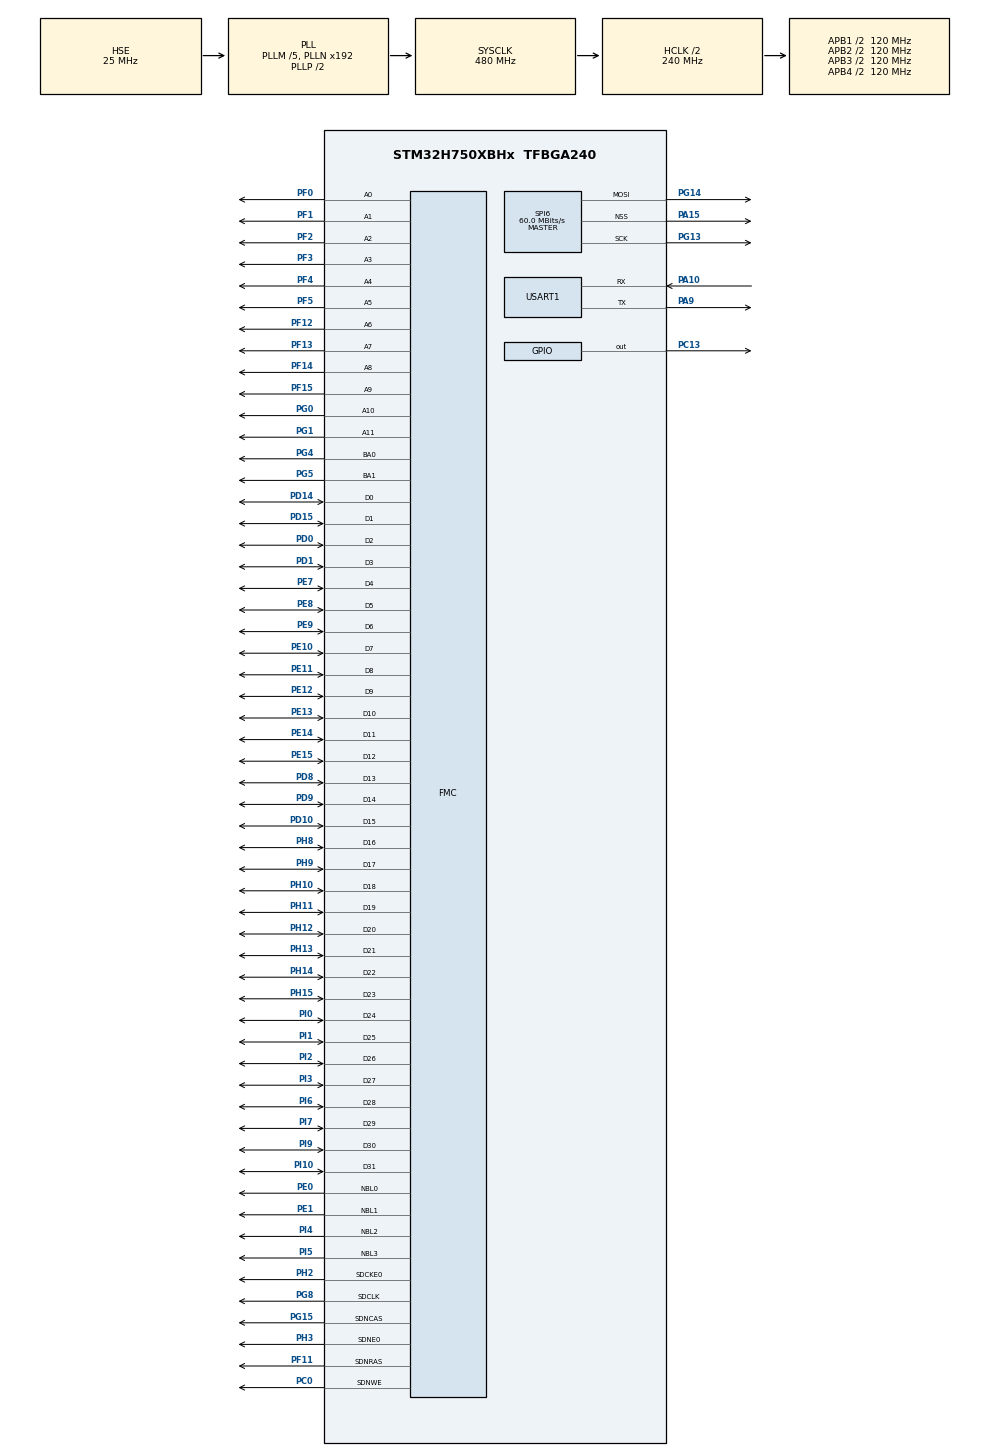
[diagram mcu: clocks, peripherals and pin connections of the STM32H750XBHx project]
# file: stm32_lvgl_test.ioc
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DMA2D.ColorMode=DMA2D_OUTPUT_RGB565
FMC.CASLatency1=FMC_SDRAM_CAS_LATENCY_3
FMC.ExitSelfRefreshDelay1=7
FMC.LoadToActiveDelay1=2
FMC.RCDDelay1=2
FMC.RPDelay1=2
FMC.RPDelay2=2
FMC.RowCycleDelay1=7
FMC.RowCycleDelay2=7
FMC.SDClockPeriod1=FMC_SDRAM_CLOCK_PERIOD_2
FMC.SDClockPeriod2=FMC_SDRAM_CLOCK_PERIOD_2
FMC.SelfRefreshTime1=4
FMC.WriteRecoveryTime1=3
FREERTOS.Tasks01=defaultTask,24,1024,StartDefaultTask,Default,NULL,Dynamic,NULL,NULL;base_lvgl_task,32,2048,lvgl_task,Default,NULL,Dynamic,NULL,NULL;lvgl_gui,25,2048,lvgl_gui1,Default,NULL,Dynamic,NULL,NULL
FREERTOS.configTOTAL_HEAP_SIZE=30720
FREERTOS.configUSE_TICK_HOOK=1
Mcu.Family=STM32H7
Mcu.Name=STM32H750XBHx
Mcu.Package=TFBGA240
NVIC.DMA2D_IRQn=true\:5\:0\:false\:false\:true\:true\:true\:true\:true
NVIC.PriorityGroup=NVIC_PRIORITYGROUP_4
NVIC.TIM1_UP_IRQn=true\:15\:0\:false\:false\:true\:false\:false\:true\:true
NVIC.TimeBase=TIM1_UP_IRQn
NVIC.TimeBaseIP=TIM1
PA10.GPIO_Speed=GPIO_SPEED_FREQ_VERY_HIGH
PA10.Mode=Asynchronous
PA10.Signal=USART1_RX
PA15\ (JTDI).GPIO_Speed=GPIO_SPEED_FREQ_VERY_HIGH
PA15\ (JTDI).Mode=NSS_Signal_Hard_Output
PA15\ (JTDI).Signal=SPI6_NSS
PA9.GPIO_Speed=GPIO_SPEED_FREQ_VERY_HIGH
PA9.Mode=Asynchronous
PA9.Signal=USART1_TX
PC0.Signal=FMC_SDNWE
PC13.Signal=GPIO_Output
PD0.Signal=FMC_D2_DA2
PD1.Signal=FMC_D3_DA3
PD10.Signal=FMC_D15_DA15
PD14.Signal=FMC_D0_DA0
PD15.Signal=FMC_D1_DA1
PD8.Signal=FMC_D13_DA13
PD9.Signal=FMC_D14_DA14
PE0.Signal=FMC_NBL0
PE1.Signal=FMC_NBL1
PE10.Signal=FMC_D7_DA7
PE11.Signal=FMC_D8_DA8
PE12.Signal=FMC_D9_DA9
PE13.Signal=FMC_D10_DA10
PE14.Signal=FMC_D11_DA11
PE15.Signal=FMC_D12_DA12
PE7.Signal=FMC_D4_DA4
PE8.Signal=FMC_D5_DA5
PE9.Signal=FMC_D6_DA6
PF0.Signal=FMC_A0
PF1.Signal=FMC_A1
PF11.Signal=FMC_SDNRAS
PF12.Signal=FMC_A6
PF13.Signal=FMC_A7
PF14.Signal=FMC_A8
PF15.Signal=FMC_A9
PF2.Signal=FMC_A2
PF3.Signal=FMC_A3
PF4.Signal=FMC_A4
PF5.Signal=FMC_A5
PG0.Signal=FMC_A10
PG1.Signal=FMC_A11
PG13.GPIO_Speed=GPIO_SPEED_FREQ_VERY_HIGH
PG13.Mode=TX_Only_Simplex_Unidirect_Master
PG13.Signal=SPI6_SCK
PG14.GPIO_Speed=GPIO_SPEED_FREQ_VERY_HIGH
PG14.Mode=TX_Only_Simplex_Unidirect_Master
PG14.Signal=SPI6_MOSI
PG15.Signal=FMC_SDNCAS
PG4.Signal=FMC_A14_BA0
PG5.Signal=FMC_A15_BA1
PG8.Signal=FMC_SDCLK
PH0-OSC_IN\ (PH0).Mode=HSE-External-Oscillator
PH0-OSC_IN\ (PH0).Signal=RCC_OSC_IN
PH1-OSC_OUT\ (PH1).Mode=HSE-External-Oscillator
PH1-OSC_OUT\ (PH1).Signal=RCC_OSC_OUT
PH10.Signal=FMC_D18
PH11.Signal=FMC_D19
PH12.Signal=FMC_D20
PH13.Signal=FMC_D21
PH14.Signal=FMC_D22
PH15.Signal=FMC_D23
PH2.Mode=SdramChipSelect1_1
PH2.Signal=FMC_SDCKE0
PH3.Mode=SdramChipSelect1_1
PH3.Signal=FMC_SDNE0
PH8.Signal=FMC_D16
PH9.Signal=FMC_D17
PI0.Signal=FMC_D24
PI1.Signal=FMC_D25
PI10.Signal=FMC_D31
PI2.Signal=FMC_D26
PI3.Signal=FMC_D27
PI4.Signal=FMC_NBL2
PI5.Signal=FMC_NBL3
PI6.Signal=FMC_D28
PI7.Signal=FMC_D29
PI9.Signal=FMC_D30
ProjectManager.HeapSize=0x200
ProjectManager.StackSize=0x400
ProjectManager.TargetToolchain=MDK-ARM V5.32
RCC.ADCFreq_Value=50390625
RCC.APB1Freq_Value=120000000
RCC.APB2Freq_Value=120000000
RCC.APB3Freq_Value=120000000
RCC.APB4Freq_Value=120000000
RCC.CortexFreq_Value=480000000
RCC.D1PPRE=RCC_APB3_DIV2
RCC.D2PPRE1=RCC_APB1_DIV2
RCC.D2PPRE2=RCC_APB2_DIV2
RCC.D3PPRE=RCC_APB4_DIV2
RCC.DIVM1=5
RCC.DIVN1=192
RCC.HCLKFreq_Value=240000000
RCC.HPRE=RCC_HCLK_DIV2
RCC.PLLSourceVirtual=RCC_PLLSOURCE_HSE
RCC.SYSCLKFreq_VALUE=480000000
RCC.SYSCLKSource=RCC_SYSCLKSOURCE_PLLCLK
RCC.USBFreq_Value=480000000
SH.FMC_A0.0=FMC_A0,12b-sda1
SH.FMC_A1.0=FMC_A1,12b-sda1
SH.FMC_A10.0=FMC_A10,12b-sda1
SH.FMC_A11.0=FMC_A11,12b-sda1
SH.FMC_A14_BA0.0=FMC_BA0,FourSdramBanks1
SH.FMC_A15_BA1.0=FMC_BA1,FourSdramBanks1
SH.FMC_A2.0=FMC_A2,12b-sda1
SH.FMC_A3.0=FMC_A3,12b-sda1
SH.FMC_A4.0=FMC_A4,12b-sda1
SH.FMC_A5.0=FMC_A5,12b-sda1
SH.FMC_A6.0=FMC_A6,12b-sda1
SH.FMC_A7.0=FMC_A7,12b-sda1
SH.FMC_A8.0=FMC_A8,12b-sda1
SH.FMC_A9.0=FMC_A9,12b-sda1
SH.FMC_D0_DA0.0=FMC_D0,sd-32b-d1
SH.FMC_D10_DA10.0=FMC_D10,sd-32b-d1
SH.FMC_D11_DA11.0=FMC_D11,sd-32b-d1
SH.FMC_D12_DA12.0=FMC_D12,sd-32b-d1
SH.FMC_D13_DA13.0=FMC_D13,sd-32b-d1
SH.FMC_D14_DA14.0=FMC_D14,sd-32b-d1
SH.FMC_D15_DA15.0=FMC_D15,sd-32b-d1
SH.FMC_D16.0=FMC_D16,sd-32b-d1
SH.FMC_D17.0=FMC_D17,sd-32b-d1
SH.FMC_D18.0=FMC_D18,sd-32b-d1
SH.FMC_D19.0=FMC_D19,sd-32b-d1
SH.FMC_D1_DA1.0=FMC_D1,sd-32b-d1
SH.FMC_D20.0=FMC_D20,sd-32b-d1
SH.FMC_D21.0=FMC_D21,sd-32b-d1
SH.FMC_D22.0=FMC_D22,sd-32b-d1
SH.FMC_D23.0=FMC_D23,sd-32b-d1
SH.FMC_D24.0=FMC_D24,sd-32b-d1
SH.FMC_D25.0=FMC_D25,sd-32b-d1
SH.FMC_D26.0=FMC_D26,sd-32b-d1
SH.FMC_D27.0=FMC_D27,sd-32b-d1
SH.FMC_D28.0=FMC_D28,sd-32b-d1
SH.FMC_D29.0=FMC_D29,sd-32b-d1
SH.FMC_D2_DA2.0=FMC_D2,sd-32b-d1
SH.FMC_D30.0=FMC_D30,sd-32b-d1
SH.FMC_D31.0=FMC_D31,sd-32b-d1
SH.FMC_D3_DA3.0=FMC_D3,sd-32b-d1
SH.FMC_D4_DA4.0=FMC_D4,sd-32b-d1
SH.FMC_D5_DA5.0=FMC_D5,sd-32b-d1
SH.FMC_D6_DA6.0=FMC_D6,sd-32b-d1
SH.FMC_D7_DA7.0=FMC_D7,sd-32b-d1
SH.FMC_D8_DA8.0=FMC_D8,sd-32b-d1
SH.FMC_D9_DA9.0=FMC_D9,sd-32b-d1
SH.FMC_NBL0.0=FMC_NBL0,Sd4ByteEnable1
SH.FMC_NBL1.0=FMC_NBL1,Sd4ByteEnable1
SH.FMC_NBL2.0=FMC_NBL2,Sd4ByteEnable1
SH.FMC_NBL3.0=FMC_NBL3,Sd4ByteEnable1
SH.FMC_SDCLK.0=FMC_SDCLK,12b-sda1
SH.FMC_SDNCAS.0=FMC_SDNCAS,12b-sda1
SH.FMC_SDNRAS.0=FMC_SDNRAS,12b-sda1
SH.FMC_SDNWE.0=FMC_SDNWE,12b-sda1
SPI6.CalculateBaudRate=60.0 MBits/s
SPI6.DataSize=SPI_DATASIZE_8BIT
SPI6.Direction=SPI_DIRECTION_2LINES_TXONLY
SPI6.FifoThreshold=SPI_FIFO_THRESHOLD_02DATA
SPI6.Mode=SPI_MODE_MASTER
SPI6.VirtualNSS=VM_NSSHARD
SPI6.VirtualType=VM_MASTER
USART1.VirtualMode-Asynchronous=VM_ASYNC
VP_DMA2D_VS_DMA2D.Mode=DMA2D_Activate
VP_FREERTOS_VS_CMSIS_V2.Mode=CMSIS_V2
VP_MEMORYMAP_VS_MEMORYMAP.Mode=CurAppReg
VP_SYS_VS_tim1.Mode=TIM1
board=custom

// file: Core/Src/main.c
/* USER CODE BEGIN Header */
/**
 ******************************************************************************
 * @file           : main.c
 * @brief          : Main program body
 ******************************************************************************
 * @attention
 *
 * Copyright (c) 2024 STMicroelectronics.
 * All rights reserved.
 *
 * This software is licensed under terms that can be found in the LICENSE file
 * in the root directory of this software component.
 * If no LICENSE file comes with this software, it is provided AS-IS.
 *
 ******************************************************************************
 */
/* USER CODE END Header */
#include "main.h"
#include "cmsis_os.h"
#include "dma2d.h"
#include "memorymap.h"
#include "spi.h"
#include "usart.h"
#include "gpio.h"
#include "fmc.h"

/* USER CODE BEGIN Includes */
#include "lcd_spi_200.h"
#include "lvgl.h"
#include "lv_port_disp.h"
#include "lv_port_indev.h"
#include "sdram.h"

/* USER CODE END Includes */

void SystemClock_Config(void);
void MX_FREERTOS_Init(void);

/* USER CODE BEGIN 0 */
void create_label(void)
{
  lv_obj_t *label = lv_label_create(lv_scr_act()); // 创建一个标签
  lv_label_set_text(label, "Hello, LVGL!");        // 设置标签文本
}
/* USER CODE END 0 */

int main(void)
{

  /* USER CODE BEGIN 1 */
  SCB_EnableICache(); // 使能ICache
  SCB_EnableDCache(); // 使能DCache
  /* USER CODE END 1 */

  /* MCU Configuration--------------------------------------------------------*/

  /* Reset of all peripherals, Initializes the Flash interface and the Systick. */
  HAL_Init();

  /* Configure the system clock */
  SystemClock_Config();

  /* Initialize all configured peripherals */
  MX_GPIO_Init();
  MX_USART1_UART_Init();
  MX_SPI6_Init();
  MX_DMA2D_Init();
  MX_FMC_Init();
  /* USER CODE BEGIN 2 */

  SPI_LCD_Init();      // 液晶屏初始化
  //lv_init();           // 初始化LVGL库
  //lv_port_disp_init(); // 初始化显示驱动
  //lv_port_indev_init(); // 初始化输入设备
  SDRAM_Initialization_Sequence(&hsdram1); // SDRAM初始化

  // static lv_obj_t *label = lv_label_create(lv_scr_act()); // 创建一个标签
  // lv_label_set_text(label, "Hello, LVGL!"); // 设置标签文本
  //create_label();

  /* USER CODE END 2 */

  /* Init scheduler */
  osKernelInitialize();

  /* Call init function for freertos objects (in cmsis_os2.c) */
  MX_FREERTOS_Init();

  /* Start scheduler */
  osKernelStart();

  /* We should never get here as control is now taken by the scheduler */

  /* Infinite loop */
  while (1)
  {

  }
}

void SystemClock_Config(void)
{
  RCC_OscInitTypeDef RCC_OscInitStruct = {0};
  RCC_ClkInitTypeDef RCC_ClkInitStruct = {0};

  /** Supply configuration update enable
  */
  HAL_PWREx_ConfigSupply(PWR_LDO_SUPPLY);

  /** Configure the main internal regulator output voltage
  */
  __HAL_PWR_VOLTAGESCALING_CONFIG(PWR_REGULATOR_VOLTAGE_SCALE1);

  while(!__HAL_PWR_GET_FLAG(PWR_FLAG_VOSRDY)) {}

  __HAL_RCC_SYSCFG_CLK_ENABLE();
  __HAL_PWR_VOLTAGESCALING_CONFIG(PWR_REGULATOR_VOLTAGE_SCALE0);

  while(!__HAL_PWR_GET_FLAG(PWR_FLAG_VOSRDY)) {}

  /** Initializes the RCC Oscillators according to the specified parameters
  * in the RCC_OscInitTypeDef structure.
  */
  RCC_OscInitStruct.OscillatorType = RCC_OSCILLATORTYPE_HSE;
  RCC_OscInitStruct.HSEState = RCC_HSE_ON;
  RCC_OscInitStruct.PLL.PLLState = RCC_PLL_ON;
  RCC_OscInitStruct.PLL.PLLSource = RCC_PLLSOURCE_HSE;
  RCC_OscInitStruct.PLL.PLLM = 5;
  RCC_OscInitStruct.PLL.PLLN = 192;
  RCC_OscInitStruct.PLL.PLLP = 2;
  RCC_OscInitStruct.PLL.PLLQ = 2;
  RCC_OscInitStruct.PLL.PLLR = 2;
  RCC_OscInitStruct.PLL.PLLRGE = RCC_PLL1VCIRANGE_2;
  RCC_OscInitStruct.PLL.PLLVCOSEL = RCC_PLL1VCOWIDE;
  RCC_OscInitStruct.PLL.PLLFRACN = 0;
  if (HAL_RCC_OscConfig(&RCC_OscInitStruct) != HAL_OK)
  {
    Error_Handler();
  }

  /** Initializes the CPU, AHB and APB buses clocks
  */
  RCC_ClkInitStruct.ClockType = RCC_CLOCKTYPE_HCLK|RCC_CLOCKTYPE_SYSCLK
                              |RCC_CLOCKTYPE_PCLK1|RCC_CLOCKTYPE_PCLK2
                              |RCC_CLOCKTYPE_D3PCLK1|RCC_CLOCKTYPE_D1PCLK1;
  RCC_ClkInitStruct.SYSCLKSource = RCC_SYSCLKSOURCE_PLLCLK;
  RCC_ClkInitStruct.SYSCLKDivider = RCC_SYSCLK_DIV1;
  RCC_ClkInitStruct.AHBCLKDivider = RCC_HCLK_DIV2;
  RCC_ClkInitStruct.APB3CLKDivider = RCC_APB3_DIV2;
  RCC_ClkInitStruct.APB1CLKDivider = RCC_APB1_DIV2;
  RCC_ClkInitStruct.APB2CLKDivider = RCC_APB2_DIV2;
  RCC_ClkInitStruct.APB4CLKDivider = RCC_APB4_DIV2;

  if (HAL_RCC_ClockConfig(&RCC_ClkInitStruct, FLASH_LATENCY_4) != HAL_OK)
  {
    Error_Handler();
  }
}

void HAL_TIM_PeriodElapsedCallback(TIM_HandleTypeDef *htim)
{
  if (htim->Instance == TIM1) {
    HAL_IncTick();
  }
}

void Error_Handler(void)
{
  __disable_irq();
  while (1)
  {
  }
}

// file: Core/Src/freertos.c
/* USER CODE BEGIN Header */
/**
  ******************************************************************************
  * File Name          : freertos.c
  * Description        : Code for freertos applications
  ******************************************************************************
  * @attention
  *
  * Copyright (c) 2024 STMicroelectronics.
  * All rights reserved.
  *
  * This software is licensed under terms that can be found in the LICENSE file
  * in the root directory of this software component.
  * If no LICENSE file comes with this software, it is provided AS-IS.
  *
  ******************************************************************************
  */
/* USER CODE END Header */

#include "FreeRTOS.h"
#include "task.h"
#include "main.h"
#include "cmsis_os.h"

/* USER CODE BEGIN Includes */
#include "gpio.h"
#include "lvgl.h"
#include "lv_port_disp.h"
#include "sdram.h"
#include "lv_demo_benchmark.h"
/* USER CODE END Includes */

/* USER CODE BEGIN PM */
osMutexId_t lvgl_MutexHandle; //创建互斥锁
/* USER CODE END PM */

/* USER CODE BEGIN Variables */
const osMutexAttr_t lvgl_Mutex_attributes = {
  .name = "lvgl_Mutex"
};
/* USER CODE END Variables */
/* Definitions for defaultTask */
osThreadId_t defaultTaskHandle;
const osThreadAttr_t defaultTask_attributes = {
  .name = "defaultTask",
  .stack_size = 1024 * 4,
  .priority = (osPriority_t) osPriorityNormal,
};
/* Definitions for base_lvgl_task */
osThreadId_t base_lvgl_taskHandle;
const osThreadAttr_t base_lvgl_task_attributes = {
  .name = "base_lvgl_task",
  .stack_size = 2048 * 4,
  .priority = (osPriority_t) osPriorityAboveNormal,
};
/* Definitions for lvgl_gui */
osThreadId_t lvgl_guiHandle;
const osThreadAttr_t lvgl_gui_attributes = {
  .name = "lvgl_gui",
  .stack_size = 2048 * 4,
  .priority = (osPriority_t) osPriorityNormal1,
};

void StartDefaultTask(void *argument);
void lvgl_task(void *argument);
void lvgl_gui1(void *argument);

void MX_FREERTOS_Init(void); /* (MISRA C 2004 rule 8.1) */

/* Hook prototypes */
void vApplicationTickHook(void);

/* USER CODE BEGIN 3 */
void vApplicationTickHook( void )
{
   /* This function will be called by each tick interrupt if
   configUSE_TICK_HOOK is set to 1 in FreeRTOSConfig.h. User code can be
   added here, but the tick hook is called from an interrupt context, so
   code must not attempt to block, and only the interrupt safe FreeRTOS API
   functions can be used (those that end in FromISR()). */
  lv_tick_inc(1);
}
/* USER CODE END 3 */

void MX_FREERTOS_Init(void) {

  /* USER CODE BEGIN RTOS_MUTEX */
  /* add mutexes, ... */
  lvgl_MutexHandle = osMutexNew(&lvgl_Mutex_attributes);
  /* USER CODE END RTOS_MUTEX */

  /* Create the thread(s) */
  /* creation of defaultTask */
  defaultTaskHandle = osThreadNew(StartDefaultTask, NULL, &defaultTask_attributes);

  /* creation of base_lvgl_task */
  base_lvgl_taskHandle = osThreadNew(lvgl_task, NULL, &base_lvgl_task_attributes);

  /* creation of lvgl_gui */
  lvgl_guiHandle = osThreadNew(lvgl_gui1, NULL, &lvgl_gui_attributes);

}

void StartDefaultTask(void *argument)
{
  /* USER CODE BEGIN StartDefaultTask */
  //SDRAM_Test();
  /* Infinite loop */
  for(;;)
  {
    HAL_GPIO_TogglePin(GPIOC, GPIO_PIN_13);
    vTaskDelay(100);
  }
  /* USER CODE END StartDefaultTask */
}

void lvgl_task(void *argument)
{
  /* USER CODE BEGIN lvgl_task */
  lv_init();           // 初始化LVGL库
  lv_port_disp_init(); // 初始化显示驱动
  //lv_port_indev_init(); // 初始化输入设备
  lv_demo_benchmark(); // 运行benchmark演示

  /* Infinite loop */
  for(;;)
  {
    //在互斥锁内执行LVGL任务
    osMutexAcquire(lvgl_MutexHandle, portMAX_DELAY);
    lv_task_handler();
    osMutexRelease(lvgl_MutexHandle);

    vTaskDelay(5);
  }
  /* USER CODE END lvgl_task */
}

void lvgl_gui1(void *argument)
{
  /* USER CODE BEGIN lvgl_gui1 */
  /* Infinite loop */
  for(;;)
  {

    vTaskDelay(5);
  }
  /* USER CODE END lvgl_gui1 */
}
